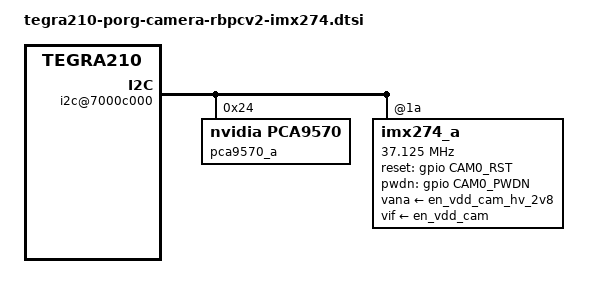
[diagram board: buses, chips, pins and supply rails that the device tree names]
/*
 * Copyright (c) 2017, NVIDIA CORPORATION.  All rights reserved.
 *
 * This program is free software; you can redistribute it and/or modify
 * it under the terms of the GNU General Public License as published by
 * the Free Software Foundation; either version 2 of the License, or
 * (at your option) any later version.
 *
 * This program is distributed in the hope that it will be useful, but WITHOUT
 * ANY WARRANTY; without even the implied warranty of MERCHANTABILITY or
 * FITNESS FOR A PARTICULAR PURPOSE.  See the GNU General Public License for
 * more details.
 *
 * You should have received a copy of the GNU General Public License
 * along with this program.  If not, see <http://www.gnu.org/licenses/>.
 */
#include "tegra210-camera-rbpcv2-imx274.dtsi"
#include <dt-bindings/clock/tegra210-car.h>

#define CAM0_RST    TEGRA_GPIO(S, 5)
#define CAM0_PWDN   TEGRA_GPIO(T, 0)

/* camera control gpio definitions */

/ {
	i2c@7000c000 {
		#address-cells = <1>;
		#size-cells = <0>;
		pca9570_a@24 {
			compatible = "nvidia,pca9570";
			reg = <0x24>;
			channel = "a";
			drive_ic = "DRV8838";
		};
		
		imx274_a@1a {
			/* Define any required hw resources needed by driver */
			/* ie. clocks, io pins, power sources */
			clocks = <&tegra_car TEGRA210_CLK_CLK_OUT_3>;
			clock-names = "clk_out_3";
			mclk = "clk_out_3";
	        clock-frequency = <37125000>;
	        reset-gpios = <&gpio CAM0_RST GPIO_ACTIVE_HIGH>;
            pwdn-gpios = <&gpio CAM0_PWDN GPIO_ACTIVE_HIGH>;
			vana-supply = <&en_vdd_cam_hv_2v8>;
			vif-supply = <&en_vdd_cam>;
		};
	};
};
